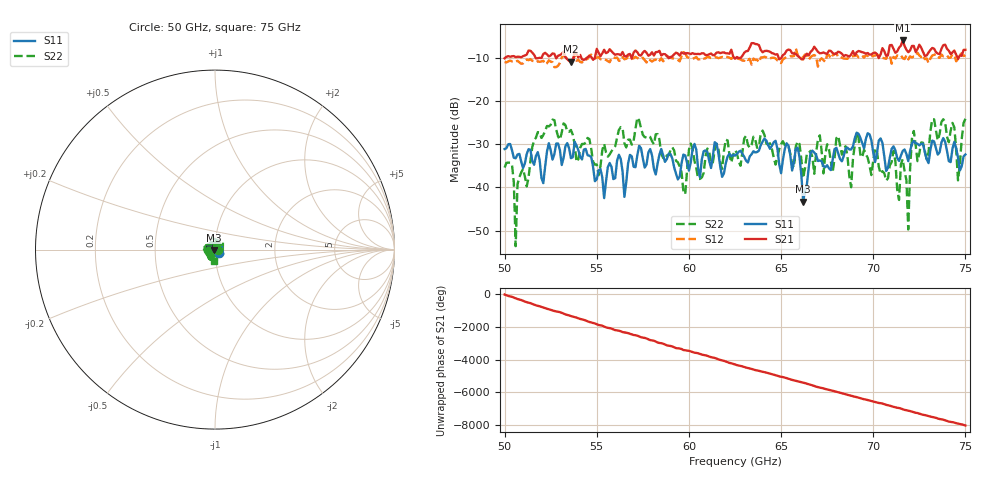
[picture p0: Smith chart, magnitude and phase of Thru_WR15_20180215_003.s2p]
# GHz S RI R 50
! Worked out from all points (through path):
!   251 points, 50 GHz to 75 GHz, reference 50 ohm
!   highest |S21| = -5.97 dB at 71.6 GHz (marker M1); lowest = -10.9 dB at 53.6 GHz (marker M2)
!   lowest |S11| = -43.3 dB at 66.2 GHz (marker M3), VSWR 1.01, Z = 49.3 - j0.137 ohm
!   |S11| at or under -10 dB: start of sweep to end of sweep
!   |S22| runs from -53.6 to -23.8 dB; largest |S21 - S12| = 0.78
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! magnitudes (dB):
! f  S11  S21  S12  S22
! 50 GHz  -31.1  -10.1  -11.0  -35.4
! 50.4 GHz  -31.4  -9.6  -10.8  -34.7
! 50.6 GHz  -33.3  -9.8  -10.9  -53.6
! 50.7 GHz  -32.4  -9.7  -10.7  -39.3
! 51.8 GHz  -31.8  -10.1  -10.8  -27.2
! 53.6 GHz  -33.2  -10.9  -10.6  -26.7
! 54.2 GHz  -33.5  -10.3  -11.1  -29.9
! 55.4 GHz  -42.5  -8.1  -10.2  -29.9
! 58.4 GHz  -32.4  -8.4  -10.7  -28.9
! 59.8 GHz  -32.6  -9.0  -8.9  -41.6
! 60.1 GHz  -34.2  -9.1  -10.0  -29.9
! 62.5 GHz  -32.7  -10.2  -9.8  -31.4
! 65.9 GHz  -30.8  -9.6  -9.3  -29.4
! 66.2 GHz  -43.3  -10.4  -9.8  -37.8
! 66.7 GHz  -31.5  -8.2  -9.5  -33.0
! 70.9 GHz  -33.1  -7.1  -9.3  -34.9
! 71.6 GHz  -31.6  -6.0  -10.1  -33.5
! 71.9 GHz  -33.9  -8.7  -10.4  -49.8
! 72.2 GHz  -29.2  -7.2  -9.7  -26.9
! 74.3 GHz  -31.0  -8.7  -9.1  -25.1
! 74.6 GHz  -33.1  -10.2  -10.3  -38.4
! 75 GHz  -32.4  -8.1  -9.4  -24.1
